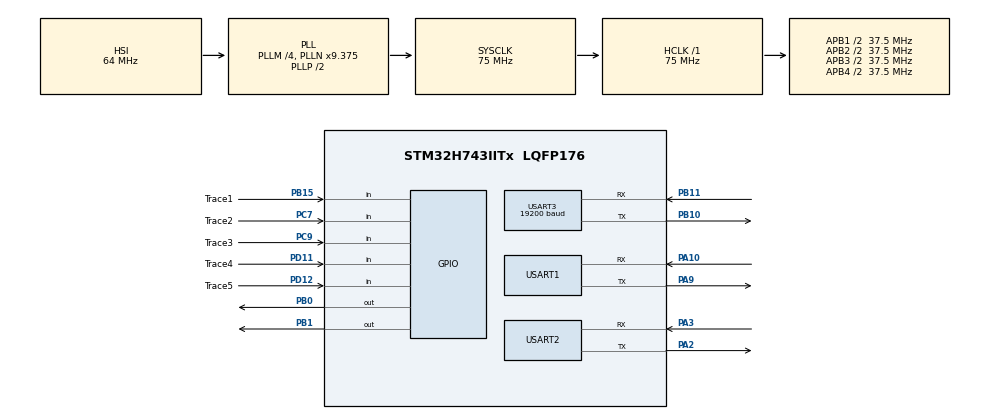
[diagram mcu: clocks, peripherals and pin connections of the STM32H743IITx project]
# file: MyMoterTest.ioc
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Mcu.Family=STM32H7
NVIC.USART3_IRQn=true\:0\:0\:false\:false\:true\:true\:true
PD12.GPIO_Label=Trace5
RCC.CortexFreq_Value=75000000
PB10.Mode=Asynchronous
PH0-OSC_IN\ (PH0).Signal=RCC_OSC_IN
RCC.PLLFRACN=3072
PB11.Signal=USART3_RX
PB15.Signal=GPIO_Input
RCC.SYSCLKSource=RCC_SYSCLKSOURCE_PLLCLK
ProjectManager.StackSize=0x400
USART3.VirtualMode-Asynchronous=VM_ASYNC
PD11.GPIO_PuPd=GPIO_PULLDOWN
USART3.BaudRate=19200
PD11.GPIO_Label=Trace4
RCC.HCLKFreq_Value=75000000
PC7.Signal=GPIO_Input
PH1-OSC_OUT\ (PH1).Mode=HSE-External-Oscillator
USART2.VirtualMode-Asynchronous=VM_ASYNC
RCC.DIVM1=4
RCC.APB3Freq_Value=37500000
Mcu.Package=LQFP176
PB1.Signal=GPIO_Output
RCC.D1PPRE=RCC_APB3_DIV2
PB15.GPIO_PuPd=GPIO_PULLDOWN
PD12.Signal=GPIO_Input
PA10.Signal=USART1_RX
RCC.APB4Freq_Value=37500000
PH0-OSC_IN\ (PH0).Mode=HSE-External-Oscillator
PA3.Signal=USART2_RX
PA10.Mode=Asynchronous
PC9.GPIO_Label=Trace3
RCC.D2PPRE2=RCC_APB2_DIV2
RCC.D2PPRE1=RCC_APB1_DIV2
PH1-OSC_OUT\ (PH1).Signal=RCC_OSC_OUT
USART1.VirtualMode-Asynchronous=VM_ASYNC
PA3.Mode=Asynchronous
PA9.Mode=Asynchronous
PB11.Mode=Asynchronous
ProjectManager.TargetToolchain=MDK-ARM V5
PA9.Signal=USART1_TX
RCC.DIVN1=9
RCC.USBFreq_Value=75000000
PC7.GPIO_PuPd=GPIO_PULLDOWN
PB10.Signal=USART3_TX
board=custom
RCC.APB2Freq_Value=37500000
PB15.GPIO_Label=Trace1
RCC.ADCFreq_Value=129000000
PC9.GPIO_PuPd=GPIO_PULLDOWN
Mcu.Name=STM32H743IITx
PA2.Signal=USART2_TX
PC7.GPIO_Label=Trace2
RCC.SYSCLKFreq_VALUE=75000000
PD11.Signal=GPIO_Input
ProjectManager.HeapSize=0x200
NVIC.PriorityGroup=NVIC_PRIORITYGROUP_4
PA2.Mode=Asynchronous
RCC.D3PPRE=RCC_APB4_DIV2
PC9.Signal=GPIO_Input
RCC.APB1Freq_Value=37500000
PB0.Signal=GPIO_Output
PD12.GPIO_PuPd=GPIO_PULLDOWN

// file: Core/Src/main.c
/* USER CODE BEGIN Header */
/**
  ******************************************************************************
  * @file           : main.c
  * @brief          : Main program body
  ******************************************************************************
  * @attention
  *
  * <h2><center>&copy; Copyright (c) 2021 STMicroelectronics.
  * All rights reserved.</center></h2>
  *
  * This software component is licensed by ST under BSD 3-Clause license,
  * the "License"; You may not use this file except in compliance with the
  * License. You may obtain a copy of the License at:
  *                        opensource.org/licenses/BSD-3-Clause
  *
  ******************************************************************************
  */
/* USER CODE END Header */
#include "main.h"
#include "usart.h"
#include "gpio.h"

/* USER CODE BEGIN Includes */
#include "stdio.h"
#include "string.h"
/* USER CODE END Includes */

/* USER CODE BEGIN PV */
int trc1, trc2, trc3, trc4, trc5;
int case1_1, case1_2, case1_3;
int case2_1, case2_2, case2_3, case2_4, case2_5, case2_6;
int case3_1, case3_2, case3_3, case3_4, case3_5, case3_6;
int case4, case5;
int StartFlag = 1;
int EndFlag = 0;
int Flag_Right = 0, Flag_Left = 0;
int endpoint = 0;
float PD_feedback = 0;

//* UART Variables
uint8_t RxBuff[1] = {0};
uint8_t DataBuff[10] = {0};
int RxLine = 0;
uint8_t Recieve_flag = 0;
float Recieve_val = 0;
int scale = 10;

/* USER CODE END PV */

void SystemClock_Config(void);
/* USER CODE BEGIN PFP */
void StartMotor(void);
void TurnRight(void);
void TurnLeft(void);
void TurnBack(void);
void RotateRight(void);
void RotateLeft(void);
void Foward(void);

//* UART Functions
void Process_Buffer();
void Communicate_Upper();
void SetVelocity(float diff);
/* USER CODE END PFP */

int main(void)
{

  /* MCU Configuration--------------------------------------------------------*/

  /* Reset of all peripherals, Initializes the Flash interface and the Systick. */
  HAL_Init();

  /* Configure the system clock */
  SystemClock_Config();

  /* Initialize all configured peripherals */
  MX_GPIO_Init();
  MX_USART1_UART_Init();
  MX_USART2_UART_Init();
  MX_USART3_UART_Init();
  /* USER CODE BEGIN 2 */
	HAL_UART_Receive_IT(&huart3, (uint8_t *)RxBuff, 1);
  /* USER CODE END 2 */

  /* Infinite loop */
  /* USER CODE BEGIN WHILE */
	HAL_UART_Transmit_IT(&huart3, (uint8_t *)"END\n", 5);
  while (1)
  {

		//Read the trace sensor data
		trc1 = HAL_GPIO_ReadPin(Trace1_GPIO_Port, Trace1_Pin);
		trc2 = HAL_GPIO_ReadPin(Trace2_GPIO_Port, Trace2_Pin);
		trc3 = HAL_GPIO_ReadPin(Trace3_GPIO_Port, Trace3_Pin);
		trc4 = HAL_GPIO_ReadPin(Trace5_GPIO_Port, Trace5_Pin);
		trc5 = HAL_GPIO_ReadPin(Trace4_GPIO_Port, Trace4_Pin);

		//printf("out1:%d\r\nout2:%d\r\nout3:%d\r\nout4:%d\r\nout5:%d\r\n",trc1, trc2, trc3, trc4, trc5);

		//Situation Forward:
		case1_1 = trc1==1 && trc2==0 && trc3==0 && trc4==1 && trc5==1;
		case1_2 = trc1==1 && trc2==1 && trc3==0 && trc4==0 && trc5==1;
		case1_3 = trc1==1 && trc2==0 && trc3==0 && trc4==0 && trc5==1;
		//Situation Right:
		case2_1 = trc1==0 && trc2==0 && trc3==1 && trc4==1 && trc5==1;
		case2_2 = trc1==0 && trc2==1 && trc3==1 && trc4==1 && trc5==1;
	  case2_3 = trc1==1 && trc2==0 && trc3==1 && trc4==1 && trc5==1; //out2 black - small correction
	  case2_4 = trc1==0 && trc2==0 && trc3==0 && trc4==1 && trc5==1;
		case2_5 = trc1==0 && trc2==0 && trc3==0 && trc4==0 && trc5==1;
		case2_6 = trc1==0 && trc2==1 && trc3==0 && trc4==1 && trc5==1;
		//Situation Left:
		case3_1 = trc1==1 && trc2==1 && trc3==1 && trc4==0 && trc5==0;
		case3_2 = trc1==1 && trc2==1 && trc3==1 && trc4==1 && trc5==0;
		case3_3 = trc1==1 && trc2==1 && trc3==1 && trc4==0 && trc5==1; //out4 black - small correction
		case3_4 = trc1==1 && trc2==1 && trc3==0 && trc4==0 && trc5==0;
		case3_5 = trc1==1 && trc2==0 && trc3==0 && trc4==0 && trc5==0;
		case3_6 = trc1==1 && trc2==1 && trc3==0 && trc4==0 && trc5==0;
    //other SItuation
		case4 = trc1==0 && trc2==0 && trc3==0 && trc4==0 && trc5==0;
		case5 = trc1==1 && trc2==1 && trc3==1 && trc4==1 && trc5==1;

		if (StartFlag){
			StartMotor();
			StartFlag = 0;
			HAL_UART_Transmit_IT(&huart3, (uint8_t *)"STA\n", 5);
		}

		if (EndFlag==0 && endpoint >=5){
			EndFlag = 1;
			HAL_UART_Transmit_IT(&huart3, (uint8_t *)"END\n", 5);
		}

		if (EndFlag){
			//printf("End!");
			// HAL_UART_Transmit_IT(&huart3, (uint8_t *)"END\n", 5);
			Motor_Rotate(1,1500,2000);
			Motor_Rotate(2,1500,2000);
			Motor_Rotate(3,1500,2000);
			Motor_Rotate(4,1500,2000);
		}else{

			// Communicate_Upper();

			if (case1_1 || case1_2 || case1_3){
				Foward();
				//printf("Foward!\r\n");
			}else if(case2_1 || case2_2 || case2_3 || case2_4 || case2_5 ){
				RotateLeft();
				//printf("Left!\r\n");
			}else if(case3_1 || case3_2 || case3_3 || case3_4 || case3_5 ){
				RotateRight();
				//printf("Right!\r\n");
			}else if(case5){
				TurnBack();
				printf("Back!\r\n");
			}else if(case4){
				endpoint = endpoint + 1;
				Foward();
				HAL_Delay(100);
				//printf("!!!!!!!!!!!!!!!!!!!!!!!, end: %d\r\n", endpoint);
			}else{
				Foward();
			}

			HAL_Delay(1); //Frequency: 1000Hz

		}

    /* USER CODE END WHILE */

  }
}

void SystemClock_Config(void)
{
  RCC_OscInitTypeDef RCC_OscInitStruct = {0};
  RCC_ClkInitTypeDef RCC_ClkInitStruct = {0};
  RCC_PeriphCLKInitTypeDef PeriphClkInitStruct = {0};

  /** Supply configuration update enable
  */
  HAL_PWREx_ConfigSupply(PWR_LDO_SUPPLY);
  /** Configure the main internal regulator output voltage
  */
  __HAL_PWR_VOLTAGESCALING_CONFIG(PWR_REGULATOR_VOLTAGE_SCALE3);

  while(!__HAL_PWR_GET_FLAG(PWR_FLAG_VOSRDY)) {}
  /** Initializes the RCC Oscillators according to the specified parameters
  * in the RCC_OscInitTypeDef structure.
  */
  RCC_OscInitStruct.OscillatorType = RCC_OSCILLATORTYPE_HSI;
  RCC_OscInitStruct.HSIState = RCC_HSI_DIV1;
  RCC_OscInitStruct.HSICalibrationValue = RCC_HSICALIBRATION_DEFAULT;
  RCC_OscInitStruct.PLL.PLLState = RCC_PLL_ON;
  RCC_OscInitStruct.PLL.PLLSource = RCC_PLLSOURCE_HSI;
  RCC_OscInitStruct.PLL.PLLM = 4;
  RCC_OscInitStruct.PLL.PLLN = 9;
  RCC_OscInitStruct.PLL.PLLP = 2;
  RCC_OscInitStruct.PLL.PLLQ = 2;
  RCC_OscInitStruct.PLL.PLLR = 2;
  RCC_OscInitStruct.PLL.PLLRGE = RCC_PLL1VCIRANGE_3;
  RCC_OscInitStruct.PLL.PLLVCOSEL = RCC_PLL1VCOMEDIUM;
  RCC_OscInitStruct.PLL.PLLFRACN = 3072;
  if (HAL_RCC_OscConfig(&RCC_OscInitStruct) != HAL_OK)
  {
    Error_Handler();
  }
  /** Initializes the CPU, AHB and APB buses clocks
  */
  RCC_ClkInitStruct.ClockType = RCC_CLOCKTYPE_HCLK|RCC_CLOCKTYPE_SYSCLK
                              |RCC_CLOCKTYPE_PCLK1|RCC_CLOCKTYPE_PCLK2
                              |RCC_CLOCKTYPE_D3PCLK1|RCC_CLOCKTYPE_D1PCLK1;
  RCC_ClkInitStruct.SYSCLKSource = RCC_SYSCLKSOURCE_PLLCLK;
  RCC_ClkInitStruct.SYSCLKDivider = RCC_SYSCLK_DIV1;
  RCC_ClkInitStruct.AHBCLKDivider = RCC_HCLK_DIV1;
  RCC_ClkInitStruct.APB3CLKDivider = RCC_APB3_DIV2;
  RCC_ClkInitStruct.APB1CLKDivider = RCC_APB1_DIV2;
  RCC_ClkInitStruct.APB2CLKDivider = RCC_APB2_DIV2;
  RCC_ClkInitStruct.APB4CLKDivider = RCC_APB4_DIV2;

  if (HAL_RCC_ClockConfig(&RCC_ClkInitStruct, FLASH_LATENCY_1) != HAL_OK)
  {
    Error_Handler();
  }
  PeriphClkInitStruct.PeriphClockSelection = RCC_PERIPHCLK_USART3|RCC_PERIPHCLK_USART2
                              |RCC_PERIPHCLK_USART1;
  PeriphClkInitStruct.Usart234578ClockSelection = RCC_USART234578CLKSOURCE_D2PCLK1;
  PeriphClkInitStruct.Usart16ClockSelection = RCC_USART16CLKSOURCE_D2PCLK2;
  if (HAL_RCCEx_PeriphCLKConfig(&PeriphClkInitStruct) != HAL_OK)
  {
    Error_Handler();
  }
}

/* USER CODE BEGIN 4 */
void Communicate_Upper()
{
	if (Recieve_flag == 1 && RxLine != 0)
	{
		Process_Buffer();
		memset(DataBuff, 0, sizeof(DataBuff));
		RxLine = 0;
		Recieve_flag = 0;
	}
}

void Process_Buffer()
{
	// no turnning while translation, no translation while turnning
	sscanf((const char *)(&DataBuff[0]), "%f", &Recieve_val);
	SetVelocity(Recieve_val);
	HAL_UART_Transmit_IT(&huart3, (uint8_t *)"REC\n", 4);
	Recieve_val = 0;
}

void SetVelocity(float diff){
	/*ID: 1-RightFront 2-RightRear 3-LeftRear 4-LeftFront*/
	/*Velocity: 1500-2500_clockwise 500-1500_counterclocwist*/
	Motor_Rotate(1,1000+diff*scale,1000);
	Motor_Rotate(2,1000+diff*scale,1000);
	Motor_Rotate(3,2000+diff*scale,1000);
	Motor_Rotate(4,2000+diff*scale,1000);
}

// bluetooth communication format: val + A
void HAL_UART_RxCpltCallback(UART_HandleTypeDef *huart)
{
	if (huart->Instance == huart3.Instance)
	{
		if (RxBuff[0] == 'A')
		{
			Recieve_flag = 1;
		}
		else
		{
			RxLine++;
			DataBuff[RxLine - 1] = RxBuff[0];
		}
		RxBuff[0] = 0;

		HAL_UART_Receive_IT(&huart3, (uint8_t *)RxBuff, 1);
	}
}

//Start our Motors
void StartMotor(void){
	Motor_Rotate(1,800,2000);
	Motor_Rotate(2,800,2000);
	Motor_Rotate(3,2000,2000);
	Motor_Rotate(4,2000,2000);
}
//Move Right
void TurnRight(void)
{
	/*ID: 1-RightFront 2-RightRear 3-LeftRear 4-LeftFront*/
	/*Velocity: 1500-2500_clockwise 500-1500_counterclocwist*/
	Motor_Rotate(1,1100,2000);
	Motor_Rotate(2,1100,2000);
	Motor_Rotate(3,2000,2000);
	Motor_Rotate(4,2000,2000);
}

void RotateRight(void){
	/*ID: 1-RightFront 2-RightRear 3-LeftRear 4-LeftFront*/
	/*Velocity: 1500-2500_clockwise 500-1500_counterclocwist*/
	if (case3_3){ //small correction - Just turn not rotate
		Motor_Rotate(1,1000,1000);
		Motor_Rotate(2,1000,1000);
		Motor_Rotate(3,2020,1000);
		Motor_Rotate(4,2020,1000);
	}else if (case3_1){
		Motor_Rotate(1,1900,1000);
		Motor_Rotate(2,1900,1000);
		Motor_Rotate(3,1900,1000);
		Motor_Rotate(4,1900,1000);
	}else if (case3_2){
		Motor_Rotate(1,2200,2000);
		Motor_Rotate(2,2200,2000);
		Motor_Rotate(3,2200,2000);
		Motor_Rotate(4,2200,2000);
	}else{
		Motor_Rotate(1,2400,2000);
		Motor_Rotate(2,2400,2000);
		Motor_Rotate(3,2400,2000);
		Motor_Rotate(4,2400,2000);
	}
}

//Move left
void TurnLeft(void)
{
	/*ID: 1-RightFront 2-RightRear 3-LeftRear 4-LeftFront*/
	/*Velocity: 1500-2500_clockwise 500-1500_counterclocwist*/
	Motor_Rotate(1,1000,2000);
	Motor_Rotate(2,1000,2000);
	Motor_Rotate(3,1700,2000);
	Motor_Rotate(4,1700,2000);
}

void RotateLeft(void){
	/*ID: 1-RightFront 2-RightRear 3-LeftRear 4-LeftFront*/
	/*Velocity: 1500-2500_clockwise 500-1500_counterclocwist*/
	if (case2_3){ //small correction - Just turn not rotate
		Motor_Rotate(1,980,2000);
		Motor_Rotate(2,980,2000);
		Motor_Rotate(3,2000,2000);
		Motor_Rotate(4,2000,2000);
	}else if (case2_1){
		Motor_Rotate(1,560,2000);
		Motor_Rotate(2,560,2000);
		Motor_Rotate(3,560,2000);
		Motor_Rotate(4,560,2000);
	}else if(case2_2){
		Motor_Rotate(1,530,2000);
		Motor_Rotate(2,530,2000);
		Motor_Rotate(3,530,2000);
		Motor_Rotate(4,530,2000);
	}else {
		Motor_Rotate(1,500,2000);
		Motor_Rotate(2,500,2000);
		Motor_Rotate(3,500,2000);
		Motor_Rotate(4,500,2000);
	}
}

//Move Foward
void Foward(void)
{
	/*ID: 1-RightFront 2-RightRear 3-LeftRear 4-LeftFront*/
	/*Velocity: 1500-2500_clockwise 500-1500_counterclocwist*/
	Motor_Rotate(1,1000,2000);
	Motor_Rotate(2,1000,2000);
	Motor_Rotate(3,2000,2000);
	Motor_Rotate(4,2000,2000);
}

//Move back
void TurnBack(void)
{
	/*ID: 1-RightFront 2-RightRear 3-LeftRear 4-LeftFront*/
	/*Velocity: 1500-2500_clockwise 500-1500_counterclocwist*/
	Motor_Rotate(1,2100,2000);
	Motor_Rotate(2,2100,2000);
	Motor_Rotate(3,900,2000);
	Motor_Rotate(4,900,2000);
}
/* USER CODE END 4 */

void Error_Handler(void)
{
}

/************************ (C) COPYRIGHT STMicroelectronics *****END OF FILE****/
